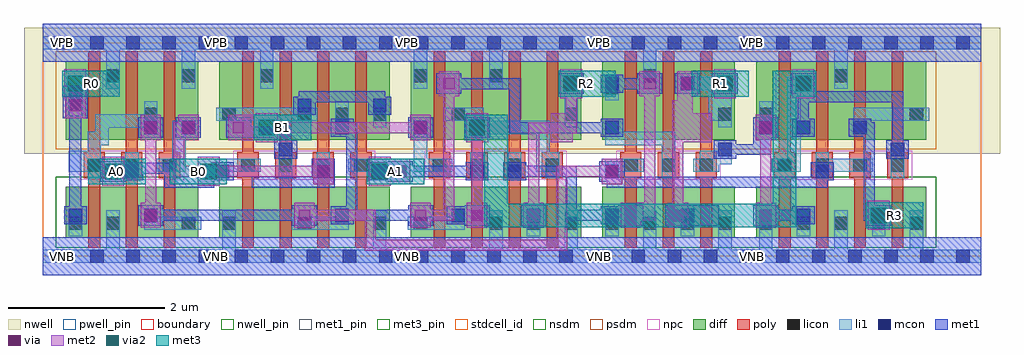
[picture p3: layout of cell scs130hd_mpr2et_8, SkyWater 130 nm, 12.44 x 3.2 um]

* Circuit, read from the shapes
.subckt scs130hd_mpr2et_8 A0 A1 B0 B1 R0 R1 R2 R3 VNB VPB vgnd vpwr
XM1 vgnd n1 R0 VNB sky130_fd_pr__nfet_01v8 w=0.65 l=0.15
XM2 n2 A0 vgnd VNB sky130_fd_pr__nfet_01v8 w=0.65 l=0.15
XM3 n1 B0 n2 VNB sky130_fd_pr__nfet_01v8 w=0.65 l=0.15
XM4 n3 A0 vgnd VNB sky130_fd_pr__nfet_01v8 w=0.65 l=0.15
XM5 n4 B1 n3 VNB sky130_fd_pr__nfet_01v8 w=0.65 l=0.15
XM6 n5 B0 n4 VNB sky130_fd_pr__nfet_01v8 w=0.65 l=0.15
XM7 vgnd A1 n5 VNB sky130_fd_pr__nfet_01v8 w=0.65 l=0.15
XM8 n6 B1 n7 VNB sky130_fd_pr__nfet_01v8 w=0.65 l=0.15
XM9 vgnd A1 n6 VNB sky130_fd_pr__nfet_01v8 w=0.65 l=0.15
XM10 R2 n8 vgnd VNB sky130_fd_pr__nfet_01v8 w=0.65 l=0.15
XM11 vgnd n7 R2 VNB sky130_fd_pr__nfet_01v8 w=0.65 l=0.15
XM12 vgnd n1 n8 VNB sky130_fd_pr__nfet_01v8 w=0.65 l=0.15
XM13 R1 n4 vgnd VNB sky130_fd_pr__nfet_01v8 w=0.65 l=0.15
XM14 vgnd n9 R1 VNB sky130_fd_pr__nfet_01v8 w=0.65 l=0.15
XM15 n9 n7 vgnd VNB sky130_fd_pr__nfet_01v8 w=0.65 l=0.15
XM16 vgnd n1 n9 VNB sky130_fd_pr__nfet_01v8 w=0.65 l=0.15
XM17 R3 n1 vgnd VNB sky130_fd_pr__nfet_01v8 w=0.65 l=0.15
XM18 vgnd n7 R3 VNB sky130_fd_pr__nfet_01v8 w=0.65 l=0.15
XM19 vpwr n1 R0 VPB sky130_fd_pr__pfet_01v8 w=1 l=0.15
XM20 n1 A0 vpwr VPB sky130_fd_pr__pfet_01v8 w=1 l=0.15
XM21 vpwr B0 n1 VPB sky130_fd_pr__pfet_01v8 w=1 l=0.15
XM22 vpwr A0 n10 VPB sky130_fd_pr__pfet_01v8 w=1 l=0.15
XM23 n10 B1 vpwr VPB sky130_fd_pr__pfet_01v8 w=1 l=0.15
XM24 n4 B0 n10 VPB sky130_fd_pr__pfet_01v8 w=1 l=0.15
XM25 n10 A1 n4 VPB sky130_fd_pr__pfet_01v8 w=1 l=0.15
XM26 n7 B1 vpwr VPB sky130_fd_pr__pfet_01v8 w=1 l=0.15
XM27 vpwr A1 n7 VPB sky130_fd_pr__pfet_01v8 w=1 l=0.15
XM28 n11 n8 vpwr VPB sky130_fd_pr__pfet_01v8 w=1 l=0.15
XM29 R2 n7 n11 VPB sky130_fd_pr__pfet_01v8 w=1 l=0.15
XM30 vpwr n1 n8 VPB sky130_fd_pr__pfet_01v8 w=1 l=0.15
XM31 n12 n4 vpwr VPB sky130_fd_pr__pfet_01v8 w=1 l=0.15
XM32 R1 n9 n12 VPB sky130_fd_pr__pfet_01v8 w=1 l=0.15
XM33 n13 n7 n9 VPB sky130_fd_pr__pfet_01v8 w=1 l=0.15
XM34 vpwr n1 n13 VPB sky130_fd_pr__pfet_01v8 w=1 l=0.15
XM35 n14 n1 vpwr VPB sky130_fd_pr__pfet_01v8 w=1 l=0.15
XM36 R3 n7 n14 VPB sky130_fd_pr__pfet_01v8 w=1 l=0.15
.ends

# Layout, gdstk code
import gdstk
lib = gdstk.Library(unit=1e-6, precision=1e-09)
def R(c, l, rs):  # rectangles x0, y0, x1, y1
    for r in rs: c.add(gdstk.rectangle(r[:2], r[2:], *l))
nwell_pin = (64, 16)
nwell = (64, 20)
diff = (65, 20)
poly = (66, 20)
licon = (66, 44)
li1 = (67, 20)
mcon = (67, 44)
met1_pin = (68, 16)
met1 = (68, 20)
via = (68, 44)
met2 = (69, 20)
via2 = (69, 44)
met3_pin = (70, 16)
met3 = (70, 20)
stdcell_id = (81, 4)
nsdm = (93, 44)
psdm = (94, 20)
npc = (95, 20)
pwell_pin = (122, 16)
boundary = (235, 4)

scs130hd_mpr2et_8 = lib.new_cell('scs130hd_mpr2et_8')
R(scs130hd_mpr2et_8, nwell_pin, [(0.165,2.635,0.335,2.805), (0.165,2.635,0.335,2.805), (2.125,2.635,2.295,2.805), (2.125,2.635,2.295,2.805), (4.565,2.635,4.735,2.805), (4.565,2.635,4.735,2.805), (7.005,2.635,7.175,2.805), (7.005,2.635,7.175,2.805), (8.965,2.635,9.135,2.805), (8.965,2.635,9.135,2.805)])
R(scs130hd_mpr2et_8, nwell, [(-0.24,1.305,12.2,2.91), (-0.24,1.305,12.2,2.91)])
R(scs130hd_mpr2et_8, diff, [(0.29,0.235,1.98,0.885), (0.29,0.235,1.98,0.885), (2.25,0.235,4.42,0.885), (2.25,0.235,4.42,0.885), (4.69,0.235,6.86,0.885), (4.69,0.235,6.86,0.885), (7.13,0.235,8.82,0.885), (7.13,0.235,8.82,0.885), (9.09,0.235,11.26,0.885), (9.09,0.235,11.26,0.885), (0.29,1.485,1.98,2.485), (0.29,1.485,1.98,2.485), (2.25,1.485,4.42,2.485), (2.25,1.485,4.42,2.485), (4.69,1.485,6.86,2.485), (4.69,1.485,6.86,2.485), (7.13,1.485,8.82,2.485), (7.13,1.485,8.82,2.485), (9.09,1.485,11.26,2.485), (9.09,1.485,11.26,2.485)])
R(scs130hd_mpr2et_8, poly, [(0.58,0.105,0.73,0.995), (0.58,0.105,0.73,0.995), (1.06,0.105,1.21,0.995), (1.06,0.105,1.21,0.995), (1.54,0.105,1.69,0.995), (1.54,0.105,1.69,0.995), (2.54,0.105,2.69,0.995), (2.54,0.105,2.69,0.995), (3.02,0.105,3.17,0.995), (3.02,0.105,3.17,0.995), (3.5,0.105,3.65,0.995), (3.5,0.105,3.65,0.995), (3.98,0.105,4.13,0.995), (3.98,0.105,4.13,0.995), (4.98,0.105,5.13,0.995), (4.98,0.105,5.13,0.995), (5.46,0.105,5.61,0.995), (5.46,0.105,5.61,0.995), (5.94,0.105,6.09,0.995), (5.94,0.105,6.09,0.995), (6.42,0.105,6.57,0.995), (6.42,0.105,6.57,0.995), (7.42,0.105,7.57,0.995), (7.42,0.105,7.57,0.995), (7.9,0.105,8.05,0.995), (7.9,0.105,8.05,0.995), (8.38,0.105,8.53,0.995), (8.38,0.105,8.53,0.995), (9.38,0.105,9.53,0.995), (9.38,0.105,9.53,0.995), (9.86,0.105,10.01,0.995), (9.86,0.105,10.01,0.995), (10.34,0.105,10.49,0.995), (10.34,0.105,10.49,0.995), (10.82,0.105,10.97,0.995), (10.82,0.105,10.97,0.995), (0.52,0.995,0.79,1.325), (0.52,0.995,0.79,1.325), (1,0.995,1.27,1.325), (1,0.995,1.27,1.325), (1.48,0.995,1.75,1.325), (1.48,0.995,1.75,1.325), (2.48,0.995,2.75,1.325), (2.48,0.995,2.75,1.325), (2.96,0.995,3.23,1.325), (2.96,0.995,3.23,1.325), (3.44,0.995,3.71,1.325), (3.44,0.995,3.71,1.325), (3.92,0.995,4.19,1.325), (3.92,0.995,4.19,1.325), (4.92,0.995,5.19,1.325), (4.92,0.995,5.19,1.325), (5.4,0.995,5.67,1.325), (5.4,0.995,5.67,1.325), (5.88,0.995,6.15,1.325), (5.88,0.995,6.15,1.325), (6.36,0.995,6.63,1.325), (6.36,0.995,6.63,1.325), (7.36,0.995,7.63,1.325), (7.36,0.995,7.63,1.325), (7.84,0.995,8.11,1.325), (7.84,0.995,8.11,1.325), (8.32,0.995,8.59,1.325), (8.32,0.995,8.59,1.325), (9.32,0.995,9.59,1.325), (9.32,0.995,9.59,1.325), (9.8,0.995,10.07,1.325), (9.8,0.995,10.07,1.325), (10.28,0.995,10.55,1.325), (10.28,0.995,10.55,1.325), (10.76,0.995,11.03,1.325), (10.76,0.995,11.03,1.325), (0.58,1.325,0.73,2.615), (0.58,1.325,0.73,2.615), (1.06,1.325,1.21,2.615), (1.06,1.325,1.21,2.615), (1.54,1.325,1.69,2.615), (1.54,1.325,1.69,2.615), (2.54,1.325,2.69,2.615), (2.54,1.325,2.69,2.615), (3.02,1.325,3.17,2.615), (3.02,1.325,3.17,2.615), (3.5,1.325,3.65,2.615), (3.5,1.325,3.65,2.615), (3.98,1.325,4.13,2.615), (3.98,1.325,4.13,2.615), (4.98,1.325,5.13,2.615), (4.98,1.325,5.13,2.615), (5.46,1.325,5.61,2.615), (5.46,1.325,5.61,2.615), (5.94,1.325,6.09,2.615), (5.94,1.325,6.09,2.615), (6.42,1.325,6.57,2.615), (6.42,1.325,6.57,2.615), (7.42,1.325,7.57,2.615), (7.42,1.325,7.57,2.615), (7.9,1.325,8.05,2.615), (7.9,1.325,8.05,2.615), (8.38,1.325,8.53,2.615), (8.38,1.325,8.53,2.615), (9.38,1.325,9.53,2.615), (9.38,1.325,9.53,2.615), (9.86,1.325,10.01,2.615), (9.86,1.325,10.01,2.615), (10.34,1.325,10.49,2.615), (10.34,1.325,10.49,2.615), (10.82,1.325,10.97,2.615), (10.82,1.325,10.97,2.615)])
R(scs130hd_mpr2et_8, licon, [(0.33,0.335,0.5,0.505), (0.33,0.335,0.5,0.505), (0.81,0.335,0.98,0.505), (0.81,0.335,0.98,0.505), (1.77,0.335,1.94,0.505), (1.77,0.335,1.94,0.505), (2.29,0.335,2.46,0.505), (2.29,0.335,2.46,0.505), (3.25,0.335,3.42,0.505), (3.25,0.335,3.42,0.505), (4.21,0.335,4.38,0.505), (4.21,0.335,4.38,0.505), (4.73,0.335,4.9,0.505), (4.73,0.335,4.9,0.505), (5.69,0.335,5.86,0.505), (5.69,0.335,5.86,0.505), (6.17,0.335,6.34,0.505), (6.17,0.335,6.34,0.505), (6.65,0.335,6.82,0.505), (6.65,0.335,6.82,0.505), (7.17,0.335,7.34,0.505), (7.17,0.335,7.34,0.505), (7.65,0.335,7.82,0.505), (7.65,0.335,7.82,0.505), (8.13,0.335,8.3,0.505), (8.13,0.335,8.3,0.505), (8.61,0.335,8.78,0.505), (8.61,0.335,8.78,0.505), (9.13,0.335,9.3,0.505), (9.13,0.335,9.3,0.505), (9.61,0.335,9.78,0.505), (9.61,0.335,9.78,0.505), (10.09,0.335,10.26,0.505), (10.09,0.335,10.26,0.505), (10.57,0.335,10.74,0.505), (10.57,0.335,10.74,0.505), (11.05,0.335,11.22,0.505), (11.05,0.335,11.22,0.505), (0.57,1.075,0.74,1.245), (0.57,1.075,0.74,1.245), (1.05,1.075,1.22,1.245), (1.05,1.075,1.22,1.245), (1.53,1.075,1.7,1.245), (1.53,1.075,1.7,1.245), (2.53,1.075,2.7,1.245), (2.53,1.075,2.7,1.245), (3.01,1.075,3.18,1.245), (3.01,1.075,3.18,1.245), (3.49,1.075,3.66,1.245), (3.49,1.075,3.66,1.245), (3.97,1.075,4.14,1.245), (3.97,1.075,4.14,1.245), (4.97,1.075,5.14,1.245), (4.97,1.075,5.14,1.245), (5.45,1.075,5.62,1.245), (5.45,1.075,5.62,1.245), (5.93,1.075,6.1,1.245), (5.93,1.075,6.1,1.245), (6.41,1.075,6.58,1.245), (6.41,1.075,6.58,1.245), (7.41,1.075,7.58,1.245), (7.41,1.075,7.58,1.245), (7.89,1.075,8.06,1.245), (7.89,1.075,8.06,1.245), (8.37,1.075,8.54,1.245), (8.37,1.075,8.54,1.245), (9.37,1.075,9.54,1.245), (9.37,1.075,9.54,1.245), (9.85,1.075,10.02,1.245), (9.85,1.075,10.02,1.245), (10.33,1.075,10.5,1.245), (10.33,1.075,10.5,1.245), (10.81,1.075,10.98,1.245), (10.81,1.075,10.98,1.245), (1.29,1.725,1.46,1.895), (1.29,1.725,1.46,1.895), (2.29,1.725,2.46,1.895), (2.29,1.725,2.46,1.895), (3.25,1.725,3.42,1.895), (3.25,1.725,3.42,1.895), (3.73,1.725,3.9,1.895), (3.73,1.725,3.9,1.895), (4.21,1.725,4.38,1.895), (4.21,1.725,4.38,1.895), (5.21,1.725,5.38,1.895), (5.21,1.725,5.38,1.895), (6.65,1.725,6.82,1.895), (6.65,1.725,6.82,1.895), (8.61,1.725,8.78,1.895), (8.61,1.725,8.78,1.895), (9.13,1.725,9.3,1.895), (9.13,1.725,9.3,1.895), (11.05,1.725,11.22,1.895), (11.05,1.725,11.22,1.895), (0.33,1.865,0.5,2.035), (0.33,1.865,0.5,2.035), (7.17,2.065,7.34,2.235), (7.17,2.065,7.34,2.235), (0.81,2.215,0.98,2.385), (0.81,2.215,0.98,2.385), (1.77,2.215,1.94,2.385), (1.77,2.215,1.94,2.385), (2.77,2.215,2.94,2.385), (2.77,2.215,2.94,2.385), (4.73,2.215,4.9,2.385), (4.73,2.215,4.9,2.385), (5.69,2.215,5.86,2.385), (5.69,2.215,5.86,2.385), (7.65,2.215,7.82,2.385), (7.65,2.215,7.82,2.385), (10.09,2.215,10.26,2.385), (10.09,2.215,10.26,2.385)])
R(scs130hd_mpr2et_8, li1, [(0,-0.085,11.96,0.085), (0,-0.085,11.96,0.085), (0.81,0.085,0.98,0.585), (0.81,0.085,0.98,0.585), (2.29,0.085,2.46,0.585), (2.29,0.085,2.46,0.585), (4.21,0.085,4.38,0.585), (4.21,0.085,4.38,0.585), (5.69,0.085,5.86,0.585), (5.69,0.085,5.86,0.585), (6.65,0.085,6.82,0.585), (6.65,0.085,6.82,0.585), (7.65,0.085,7.82,0.585), (7.65,0.085,7.82,0.585), (8.61,0.085,8.78,0.585), (8.61,0.085,8.78,0.585), (9.13,0.085,9.3,0.585), (9.13,0.085,9.3,0.585), (10.09,0.085,10.26,0.585), (10.09,0.085,10.26,0.585), (11.05,0.085,11.22,0.585), (11.05,0.085,11.22,0.585), (0.33,0.255,0.5,0.605), (0.33,0.255,0.5,0.605), (6.17,0.255,6.34,0.605), (6.17,0.255,6.34,0.605), (7.17,0.255,7.34,0.605), (7.17,0.255,7.34,0.605), (8.13,0.255,8.3,0.605), (8.13,0.255,8.3,0.605), (9.61,0.255,9.78,0.605), (9.61,0.255,9.78,0.605), (10.57,0.255,10.74,0.605), (10.57,0.255,10.74,0.605), (1.29,0.335,2.02,0.505), (1.29,0.335,2.02,0.505), (3.17,0.335,3.9,0.505), (3.17,0.335,3.9,0.505), (4.65,0.335,5.38,0.505), (4.65,0.335,5.38,0.505), (1.29,0.505,1.46,0.605), (1.29,0.505,1.46,0.605), (3.73,0.505,3.9,0.605), (3.73,0.505,3.9,0.605), (5.21,0.505,5.38,0.605), (5.21,0.505,5.38,0.605), (0.57,0.995,0.74,1.075), (0.57,0.995,0.74,1.075), (1.05,0.995,1.22,1.325), (1.05,0.995,1.22,1.325), (2.205,0.995,2.375,1.075), (2.205,0.995,2.375,1.075), (3.01,0.995,3.18,1.445), (3.01,0.995,3.18,1.445), (3.49,0.995,3.66,1.325), (3.49,0.995,3.66,1.325), (4.21,0.995,4.38,1.075), (4.21,0.995,4.38,1.075), (5.45,0.995,5.62,1.325), (5.45,0.995,5.62,1.325), (5.93,0.995,6.1,1.325), (5.93,0.995,6.1,1.325), (6.41,0.995,6.58,1.075), (6.41,0.995,6.58,1.075), (7.17,0.995,7.34,1.075), (7.17,0.995,7.34,1.075), (7.89,0.995,8.06,1.415), (7.89,0.995,8.06,1.415), (9.85,0.995,10.02,1.075), (9.85,0.995,10.02,1.075), (10.81,0.995,10.98,1.445), (10.81,0.995,10.98,1.445), (0.33,1.075,0.74,1.345), (0.33,1.075,0.74,1.345), (1.45,1.075,1.82,1.245), (1.45,1.075,1.82,1.245), (2.205,1.075,2.78,1.245), (2.205,1.075,2.78,1.245), (3.89,1.075,4.38,1.245), (3.89,1.075,4.38,1.245), (4.73,1.075,5.22,1.245), (4.73,1.075,5.22,1.245), (6.29,1.075,6.58,1.325), (6.29,1.075,6.58,1.325), (7.17,1.075,7.66,1.245), (7.17,1.075,7.66,1.245), (8.29,1.075,8.62,1.175), (8.29,1.075,8.62,1.175), (9.29,1.075,9.66,1.245), (9.29,1.075,9.66,1.245), (9.85,1.075,10.58,1.245), (9.85,1.075,10.58,1.245), (8.29,1.175,8.78,1.245), (8.29,1.175,8.78,1.245), (1.65,1.245,1.82,1.555), (1.65,1.245,1.82,1.555), (4.73,1.245,4.9,1.725), (4.73,1.245,4.9,1.725), (8.37,1.245,8.78,1.345), (8.37,1.245,8.78,1.345), (9.49,1.245,9.66,1.555), (9.49,1.245,9.66,1.555), (9.85,1.245,10.02,1.325), (9.85,1.245,10.02,1.325), (6.29,1.325,6.46,1.555), (6.29,1.325,6.46,1.555), (0.57,1.345,0.74,1.415), (0.57,1.345,0.74,1.415), (8.61,1.345,8.78,1.445), (8.61,1.345,8.78,1.445), (0.57,1.415,0.84,1.585), (0.57,1.415,0.84,1.585), (7.17,1.415,8.06,1.585), (7.17,1.415,8.06,1.585), (1.29,1.555,1.46,1.64), (1.29,1.555,1.46,1.64), (1.65,1.555,1.94,1.725), (1.65,1.555,1.94,1.725), (3.73,1.555,3.9,1.975), (3.73,1.555,3.9,1.975), (5.45,1.555,6.46,1.725), (5.45,1.555,6.46,1.725), (9.13,1.555,9.3,1.975), (9.13,1.555,9.3,1.975), (9.49,1.555,9.78,1.725), (9.49,1.555,9.78,1.725), (10.33,1.555,10.5,1.725), (10.33,1.555,10.5,1.725), (0.67,1.585,0.84,1.64), (0.67,1.585,0.84,1.64), (7.17,1.585,7.34,1.725), (7.17,1.585,7.34,1.725), (0.67,1.64,1.46,1.81), (0.67,1.64,1.46,1.81), (4.21,1.645,4.38,2.005), (4.21,1.645,4.38,2.005), (6.65,1.645,6.82,2.285), (6.65,1.645,6.82,2.285), (8.61,1.645,8.78,1.725), (8.61,1.645,8.78,1.725), (2.21,1.725,3.5,1.895), (2.21,1.725,3.5,1.895), (5.13,1.725,5.62,1.895), (5.13,1.725,5.62,1.895), (8.49,1.725,8.78,2.115), (8.49,1.725,8.78,2.115), (9.49,1.725,9.66,2.115), (9.49,1.725,9.66,2.115), (10.33,1.725,11.3,1.895), (10.33,1.725,11.3,1.895), (0.33,1.785,0.5,2.145), (0.33,1.785,0.5,2.145), (1.29,1.81,1.46,1.975), (1.29,1.81,1.46,1.975), (3.25,1.895,3.42,2.005), (3.25,1.895,3.42,2.005), (7.17,1.985,7.34,2.315), (7.17,1.985,7.34,2.315), (8.13,2.115,8.78,2.285), (8.13,2.115,8.78,2.285), (9.49,2.115,9.78,2.285), (9.49,2.115,9.78,2.285), (0.81,2.135,0.98,2.635), (0.81,2.135,0.98,2.635), (1.77,2.135,1.94,2.635), (1.77,2.135,1.94,2.635), (2.77,2.135,2.94,2.635), (2.77,2.135,2.94,2.635), (4.73,2.135,4.9,2.635), (4.73,2.135,4.9,2.635), (5.69,2.135,5.86,2.635), (5.69,2.135,5.86,2.635), (7.65,2.135,7.82,2.635), (7.65,2.135,7.82,2.635), (10.09,2.135,10.26,2.635), (10.09,2.135,10.26,2.635), (0,2.635,11.96,2.805), (0,2.635,11.96,2.805)])
R(scs130hd_mpr2et_8, mcon, [(0.145,-0.085,0.315,0.085), (0.145,-0.085,0.315,0.085), (0.605,-0.085,0.775,0.085), (0.605,-0.085,0.775,0.085), (1.065,-0.085,1.235,0.085), (1.065,-0.085,1.235,0.085), (1.525,-0.085,1.695,0.085), (1.525,-0.085,1.695,0.085), (1.985,-0.085,2.155,0.085), (1.985,-0.085,2.155,0.085), (2.445,-0.085,2.615,0.085), (2.445,-0.085,2.615,0.085), (2.905,-0.085,3.075,0.085), (2.905,-0.085,3.075,0.085), (3.365,-0.085,3.535,0.085), (3.365,-0.085,3.535,0.085), (3.825,-0.085,3.995,0.085), (3.825,-0.085,3.995,0.085), (4.285,-0.085,4.455,0.085), (4.285,-0.085,4.455,0.085), (4.745,-0.085,4.915,0.085), (4.745,-0.085,4.915,0.085), (5.205,-0.085,5.375,0.085), (5.205,-0.085,5.375,0.085), (5.665,-0.085,5.835,0.085), (5.665,-0.085,5.835,0.085), (6.125,-0.085,6.295,0.085), (6.125,-0.085,6.295,0.085), (6.585,-0.085,6.755,0.085), (6.585,-0.085,6.755,0.085), (7.045,-0.085,7.215,0.085), (7.045,-0.085,7.215,0.085), (7.505,-0.085,7.675,0.085), (7.505,-0.085,7.675,0.085), (7.965,-0.085,8.135,0.085), (7.965,-0.085,8.135,0.085), (8.425,-0.085,8.595,0.085), (8.425,-0.085,8.595,0.085), (8.885,-0.085,9.055,0.085), (8.885,-0.085,9.055,0.085), (9.345,-0.085,9.515,0.085), (9.345,-0.085,9.515,0.085), (9.805,-0.085,9.975,0.085), (9.805,-0.085,9.975,0.085), (10.265,-0.085,10.435,0.085), (10.265,-0.085,10.435,0.085), (10.725,-0.085,10.895,0.085), (10.725,-0.085,10.895,0.085), (11.185,-0.085,11.355,0.085), (11.185,-0.085,11.355,0.085), (11.645,-0.085,11.815,0.085), (11.645,-0.085,11.815,0.085), (0.33,0.435,0.5,0.605), (0.33,0.435,0.5,0.605), (1.29,0.435,1.46,0.605), (1.29,0.435,1.46,0.605), (3.73,0.435,3.9,0.605), (3.73,0.435,3.9,0.605), (5.21,0.435,5.38,0.605), (5.21,0.435,5.38,0.605), (6.17,0.435,6.34,0.605), (6.17,0.435,6.34,0.605), (7.17,0.435,7.34,0.605), (7.17,0.435,7.34,0.605), (8.13,0.435,8.3,0.605), (8.13,0.435,8.3,0.605), (9.61,0.435,9.78,0.605), (9.61,0.435,9.78,0.605), (10.57,0.435,10.74,0.605), (10.57,0.435,10.74,0.605), (1.05,0.995,1.22,1.165), (1.05,0.995,1.22,1.165), (2.205,0.995,2.375,1.165), (2.205,0.995,2.375,1.165), (3.49,0.995,3.66,1.165), (3.49,0.995,3.66,1.165), (4.21,0.995,4.38,1.165), (4.21,0.995,4.38,1.165), (5.45,0.995,5.62,1.165), (5.45,0.995,5.62,1.165), (5.93,0.995,6.1,1.165), (5.93,0.995,6.1,1.165), (7.17,0.995,7.34,1.165), (7.17,0.995,7.34,1.165), (9.85,0.995,10.02,1.165), (9.85,0.995,10.02,1.165), (3.01,1.275,3.18,1.445), (3.01,1.275,3.18,1.445), (8.61,1.275,8.78,1.445), (8.61,1.275,8.78,1.445), (10.81,1.275,10.98,1.445), (10.81,1.275,10.98,1.445), (1.29,1.555,1.46,1.725), (1.29,1.555,1.46,1.725), (1.77,1.555,1.94,1.725), (1.77,1.555,1.94,1.725), (3.73,1.555,3.9,1.725), (3.73,1.555,3.9,1.725), (4.73,1.555,4.9,1.725), (4.73,1.555,4.9,1.725), (5.45,1.555,5.62,1.725), (5.45,1.555,5.62,1.725), (7.17,1.555,7.34,1.725), (7.17,1.555,7.34,1.725), (9.13,1.555,9.3,1.725), (9.13,1.555,9.3,1.725), (9.61,1.555,9.78,1.725), (9.61,1.555,9.78,1.725), (10.33,1.555,10.5,1.725), (10.33,1.555,10.5,1.725), (3.25,1.835,3.42,2.005), (3.25,1.835,3.42,2.005), (4.21,1.835,4.38,2.005), (4.21,1.835,4.38,2.005), (0.33,1.975,0.5,2.145), (0.33,1.975,0.5,2.145), (6.65,2.115,6.82,2.285), (6.65,2.115,6.82,2.285), (7.17,2.115,7.34,2.285), (7.17,2.115,7.34,2.285), (8.13,2.115,8.3,2.285), (8.13,2.115,8.3,2.285), (8.61,2.115,8.78,2.285), (8.61,2.115,8.78,2.285), (9.61,2.115,9.78,2.285), (9.61,2.115,9.78,2.285), (0.145,2.635,0.315,2.805), (0.145,2.635,0.315,2.805), (0.605,2.635,0.775,2.805), (0.605,2.635,0.775,2.805), (1.065,2.635,1.235,2.805), (1.065,2.635,1.235,2.805), (1.525,2.635,1.695,2.805), (1.525,2.635,1.695,2.805), (1.985,2.635,2.155,2.805), (1.985,2.635,2.155,2.805), (2.445,2.635,2.615,2.805), (2.445,2.635,2.615,2.805), (2.905,2.635,3.075,2.805), (2.905,2.635,3.075,2.805), (3.365,2.635,3.535,2.805), (3.365,2.635,3.535,2.805), (3.825,2.635,3.995,2.805), (3.825,2.635,3.995,2.805), (4.285,2.635,4.455,2.805), (4.285,2.635,4.455,2.805), (4.745,2.635,4.915,2.805), (4.745,2.635,4.915,2.805), (5.205,2.635,5.375,2.805), (5.205,2.635,5.375,2.805), (5.665,2.635,5.835,2.805), (5.665,2.635,5.835,2.805), (6.125,2.635,6.295,2.805), (6.125,2.635,6.295,2.805), (6.585,2.635,6.755,2.805), (6.585,2.635,6.755,2.805), (7.045,2.635,7.215,2.805), (7.045,2.635,7.215,2.805), (7.505,2.635,7.675,2.805), (7.505,2.635,7.675,2.805), (7.965,2.635,8.135,2.805), (7.965,2.635,8.135,2.805), (8.425,2.635,8.595,2.805), (8.425,2.635,8.595,2.805), (8.885,2.635,9.055,2.805), (8.885,2.635,9.055,2.805), (9.345,2.635,9.515,2.805), (9.345,2.635,9.515,2.805), (9.805,2.635,9.975,2.805), (9.805,2.635,9.975,2.805), (10.265,2.635,10.435,2.805), (10.265,2.635,10.435,2.805), (10.725,2.635,10.895,2.805), (10.725,2.635,10.895,2.805), (11.185,2.635,11.355,2.805), (11.185,2.635,11.355,2.805), (11.645,2.635,11.815,2.805), (11.645,2.635,11.815,2.805)])
R(scs130hd_mpr2et_8, met1_pin, [(0.155,-0.085,0.325,0.085), (0.155,-0.085,0.325,0.085), (0.155,2.635,0.325,2.805), (0.155,2.635,0.325,2.805)])
R(scs130hd_mpr2et_8, met1, [(0,-0.24,11.96,0.24), (0,-0.24,11.96,0.24), (1.215,0.39,1.535,0.45), (1.215,0.39,1.535,0.45), (3.175,0.39,3.495,0.45), (3.175,0.39,3.495,0.45), (4.655,0.39,4.975,0.45), (4.655,0.39,4.975,0.45), (5.375,0.39,5.695,0.405), (5.375,0.39,5.695,0.405), (6.095,0.39,6.415,0.65), (6.095,0.39,6.415,0.65), (7.335,0.39,7.655,0.405), (7.335,0.39,7.655,0.405), (7.935,0.39,8.615,0.65), (7.935,0.39,8.615,0.65), (9.055,0.39,9.375,0.45), (9.055,0.39,9.375,0.45), (10.495,0.39,10.815,0.45), (10.495,0.39,10.815,0.45), (0.27,0.405,0.56,0.635), (0.27,0.405,0.56,0.635), (3.67,0.405,3.96,0.45), (3.67,0.405,3.96,0.45), (5.15,0.405,5.695,0.635), (5.15,0.405,5.695,0.635), (7.11,0.405,7.655,0.45), (7.11,0.405,7.655,0.45), (9.55,0.405,9.84,0.45), (9.55,0.405,9.84,0.45), (1.215,0.45,3.495,0.59), (1.215,0.45,3.495,0.59), (3.67,0.45,4.975,0.59), (3.67,0.45,4.975,0.59), (6.665,0.45,7.655,0.59), (6.665,0.45,7.655,0.59), (9.055,0.45,9.84,0.59), (9.055,0.45,9.84,0.59), (10.465,0.45,10.815,0.65), (10.465,0.45,10.815,0.65), (1.215,0.59,1.535,0.65), (1.215,0.59,1.535,0.65), (3.175,0.59,3.495,0.65), (3.175,0.59,3.495,0.65), (3.67,0.59,4.005,0.635), (3.67,0.59,4.005,0.635), (4.655,0.59,4.975,0.65), (4.655,0.59,4.975,0.65), (6.665,0.59,6.805,1.01), (6.665,0.59,6.805,1.01), (7.11,0.59,7.655,0.635), (7.11,0.59,7.655,0.635), (9.055,0.59,9.375,0.65), (9.055,0.59,9.375,0.65), (9.55,0.59,9.84,0.635), (9.55,0.59,9.84,0.635), (0.335,0.635,0.49,1.76), (0.335,0.635,0.49,1.76), (3.865,0.635,4.005,1.525), (3.865,0.635,4.005,1.525), (5.375,0.635,5.695,0.65), (5.375,0.635,5.695,0.65), (7.335,0.635,7.655,0.65), (7.335,0.635,7.655,0.65), (10.465,0.65,10.605,1.525), (10.465,0.65,10.605,1.525), (1.545,0.87,2.185,0.965), (1.545,0.87,2.185,0.965), (2.665,0.87,3.72,1.01), (2.665,0.87,3.72,1.01), (7.185,0.87,10.005,0.95), (7.185,0.87,10.005,0.95), (0.735,0.95,1.055,0.965), (0.735,0.95,1.055,0.965), (4.395,0.95,4.715,0.965), (4.395,0.95,4.715,0.965), (7.095,0.95,10.005,0.965), (7.095,0.95,10.005,0.965), (0.735,0.965,1.28,1.05), (0.735,0.965,1.28,1.05), (1.545,0.965,2.435,1.01), (1.545,0.965,2.435,1.01), (4.15,0.965,4.715,1.01), (4.15,0.965,4.715,1.01), (5.39,0.965,5.68,1.01), (5.39,0.965,5.68,1.01), (5.87,0.965,6.16,1.01), (5.87,0.965,6.16,1.01), (7.095,0.965,10.08,1.01), (7.095,0.965,10.08,1.01), (1.545,1.01,1.685,1.05), (1.545,1.01,1.685,1.05), (2.045,1.01,2.435,1.15), (2.045,1.01,2.435,1.15), (3.43,1.01,3.72,1.24), (3.43,1.01,3.72,1.24), (4.15,1.01,5.68,1.15), (4.15,1.01,5.68,1.15), (5.87,1.01,6.805,1.15), (5.87,1.01,6.805,1.15), (7.095,1.01,7.415,1.21), (7.095,1.01,7.415,1.21), (9.79,1.01,10.08,1.195), (9.79,1.01,10.08,1.195), (0.735,1.05,1.685,1.19), (0.735,1.05,1.685,1.19), (2.145,1.15,2.435,1.195), (2.145,1.15,2.435,1.195), (4.15,1.15,4.715,1.195), (4.15,1.15,4.715,1.195), (5.39,1.15,5.68,1.195), (5.39,1.15,5.68,1.195), (5.87,1.15,6.16,1.195), (5.87,1.15,6.16,1.195), (0.735,1.19,1.28,1.195), (0.735,1.19,1.28,1.195), (0.735,1.195,1.055,1.21), (0.735,1.195,1.055,1.21), (4.395,1.195,4.715,1.21), (4.395,1.195,4.715,1.21), (2.95,1.245,3.24,1.475), (2.95,1.245,3.24,1.475), (8.55,1.245,8.84,1.29), (8.55,1.245,8.84,1.29), (10.75,1.245,11.04,1.475), (10.75,1.245,11.04,1.475), (8.55,1.29,9.285,1.43), (8.55,1.29,9.285,1.43), (8.55,1.43,8.84,1.475), (8.55,1.43,8.84,1.475), (9.055,1.43,9.285,1.51), (9.055,1.43,9.285,1.51), (2.95,1.475,3.165,1.51), (2.95,1.475,3.165,1.51), (10.825,1.475,10.965,1.965), (10.825,1.475,10.965,1.965), (1.215,1.51,1.535,1.77), (1.215,1.51,1.535,1.77), (1.695,1.51,2.015,1.77), (1.695,1.51,2.015,1.77), (2.335,1.51,3.165,1.65), (2.335,1.51,3.165,1.65), (4.655,1.51,4.975,1.77), (4.655,1.51,4.975,1.77), (5.375,1.51,5.695,1.77), (5.375,1.51,5.695,1.77), (9.055,1.51,9.375,1.77), (9.055,1.51,9.375,1.77), (3.67,1.525,4.005,1.71), (3.67,1.525,4.005,1.71), (7.11,1.525,7.4,1.57), (7.11,1.525,7.4,1.57), (9.55,1.525,9.84,1.755), (9.55,1.525,9.84,1.755), (10.27,1.525,10.605,1.71), (10.27,1.525,10.605,1.71), (5.945,1.57,7.4,1.71), (5.945,1.57,7.4,1.71), (2.335,1.65,2.655,1.77), (2.335,1.65,2.655,1.77), (3.67,1.71,3.96,1.755), (3.67,1.71,3.96,1.755), (5.945,1.71,6.085,2.13), (5.945,1.71,6.085,2.13), (7.11,1.71,7.4,1.755), (7.11,1.71,7.4,1.755), (10.27,1.71,10.56,1.755), (10.27,1.71,10.56,1.755), (9.625,1.755,9.765,1.965), (9.625,1.755,9.765,1.965), (0.255,1.76,0.575,2.175), (0.255,1.76,0.575,2.175), (3.19,1.805,3.48,1.965), (3.19,1.805,3.48,1.965), (4.15,1.805,4.44,1.965), (4.15,1.805,4.44,1.965), (3.19,1.965,4.44,2.035), (3.19,1.965,4.44,2.035), (9.625,1.965,10.965,2.07), (9.625,1.965,10.965,2.07), (3.265,2.035,4.365,2.105), (3.265,2.035,4.365,2.105), (5.015,2.07,5.335,2.13), (5.015,2.07,5.335,2.13), (6.575,2.07,6.895,2.33), (6.575,2.07,6.895,2.33), (7.575,2.07,7.895,2.13), (7.575,2.07,7.895,2.13), (8.055,2.07,8.375,2.33), (8.055,2.07,8.375,2.33), (8.535,2.07,8.855,2.33), (8.535,2.07,8.855,2.33), (9.535,2.07,10.965,2.105), (9.535,2.07,10.965,2.105), (7.11,2.085,7.4,2.13), (7.11,2.085,7.4,2.13), (9.535,2.105,9.855,2.33), (9.535,2.105,9.855,2.33), (5.015,2.13,6.085,2.27), (5.015,2.13,6.085,2.27), (7.11,2.13,7.895,2.27), (7.11,2.13,7.895,2.27), (5.015,2.27,5.335,2.33), (5.015,2.27,5.335,2.33), (7.11,2.27,7.4,2.315), (7.11,2.27,7.4,2.315), (7.575,2.27,7.895,2.33), (7.575,2.27,7.895,2.33), (0,2.48,11.96,2.96), (0,2.48,11.96,2.96)])
R(scs130hd_mpr2et_8, via, [(1.3,0.445,1.45,0.595), (1.3,0.445,1.45,0.595), (3.26,0.445,3.41,0.595), (3.26,0.445,3.41,0.595), (4.74,0.445,4.89,0.595), (4.74,0.445,4.89,0.595), (5.46,0.445,5.61,0.595), (5.46,0.445,5.61,0.595), (6.18,0.445,6.33,0.595), (6.18,0.445,6.33,0.595), (7.42,0.445,7.57,0.595), (7.42,0.445,7.57,0.595), (8.02,0.445,8.17,0.595), (8.02,0.445,8.17,0.595), (9.14,0.445,9.29,0.595), (9.14,0.445,9.29,0.595), (10.58,0.445,10.73,0.595), (10.58,0.445,10.73,0.595), (0.82,1.005,0.97,1.155), (0.82,1.005,0.97,1.155), (3.5,1.005,3.65,1.155), (3.5,1.005,3.65,1.155), (4.48,1.005,4.63,1.155), (4.48,1.005,4.63,1.155), (7.18,1.005,7.33,1.155), (7.18,1.005,7.33,1.155), (1.3,1.565,1.45,1.715), (1.3,1.565,1.45,1.715), (1.78,1.565,1.93,1.715), (1.78,1.565,1.93,1.715), (2.42,1.565,2.57,1.715), (2.42,1.565,2.57,1.715), (4.74,1.565,4.89,1.715), (4.74,1.565,4.89,1.715), (5.46,1.565,5.61,1.715), (5.46,1.565,5.61,1.715), (9.14,1.565,9.29,1.715), (9.14,1.565,9.29,1.715), (0.34,1.845,0.49,1.995), (0.34,1.845,0.49,1.995), (5.1,2.125,5.25,2.275), (5.1,2.125,5.25,2.275), (6.66,2.125,6.81,2.275), (6.66,2.125,6.81,2.275), (7.66,2.125,7.81,2.275), (7.66,2.125,7.81,2.275), (8.14,2.125,8.29,2.275), (8.14,2.125,8.29,2.275), (8.62,2.125,8.77,2.275), (8.62,2.125,8.77,2.275), (9.62,2.125,9.77,2.275), (9.62,2.125,9.77,2.275)])
R(scs130hd_mpr2et_8, met2, [(4.105,0.07,6.685,0.21), (4.105,0.07,6.685,0.21), (4.105,0.21,4.245,0.45), (4.105,0.21,4.245,0.45), (6.545,0.21,6.685,1.01), (6.545,0.21,6.685,1.01), (10.515,0.335,10.795,0.705), (10.515,0.335,10.795,0.705), (1.245,0.36,1.505,0.68), (1.245,0.36,1.505,0.68), (3.205,0.36,3.465,0.45), (3.205,0.36,3.465,0.45), (4.685,0.36,4.945,0.45), (4.685,0.36,4.945,0.45), (5.405,0.36,5.665,0.68), (5.405,0.36,5.665,0.68), (6.125,0.36,6.385,0.68), (6.125,0.36,6.385,0.68), (7.365,0.36,7.625,0.45), (7.365,0.36,7.625,0.45), (7.965,0.36,8.225,0.68), (7.965,0.36,8.225,0.68), (9.085,0.36,9.345,0.68), (9.085,0.36,9.345,0.68), (3.205,0.45,4.245,0.59), (3.205,0.45,4.245,0.59), (4.685,0.45,5.245,0.59), (4.685,0.45,5.245,0.59), (7.365,0.45,7.805,0.68), (7.365,0.45,7.805,0.68), (3.205,0.59,3.465,0.68), (3.205,0.59,3.465,0.68), (4.685,0.59,4.945,0.68), (4.685,0.59,4.945,0.68), (5.105,0.59,5.245,2.04), (5.105,0.59,5.245,2.04), (1.305,0.68,1.445,1.48), (1.305,0.68,1.445,1.48), (5.465,0.68,5.605,1.455), (5.465,0.68,5.605,1.455), (6.185,0.68,6.325,1.57), (6.185,0.68,6.325,1.57), (7.665,0.68,7.805,2.04), (7.665,0.68,7.805,2.04), (8.025,0.68,8.165,1.455), (8.025,0.68,8.165,1.455), (9.145,0.68,9.285,1.48), (9.145,0.68,9.285,1.48), (0.755,0.895,1.035,1.265), (0.755,0.895,1.035,1.265), (1.975,0.895,2.255,1.01), (1.975,0.895,2.255,1.01), (4.155,0.895,4.435,0.92), (4.155,0.895,4.435,0.92), (3.445,0.92,3.705,1.01), (3.445,0.92,3.705,1.01), (4.155,0.92,4.685,1.24), (4.155,0.92,4.685,1.24), (7.125,0.92,7.385,1.01), (7.125,0.92,7.385,1.01), (1.665,1.01,3.705,1.15), (1.665,1.01,3.705,1.15), (6.545,1.01,7.385,1.15), (6.545,1.01,7.385,1.15), (1.665,1.15,1.805,1.48), (1.665,1.15,1.805,1.48), (1.975,1.15,2.255,1.265), (1.975,1.15,2.255,1.265), (3.445,1.15,3.705,1.24), (3.445,1.15,3.705,1.24), (7.125,1.15,7.385,1.24), (7.125,1.15,7.385,1.24), (4.155,1.24,4.435,1.265), (4.155,1.24,4.435,1.265), (2.715,1.455,2.995,1.48), (2.715,1.455,2.995,1.48), (5.395,1.455,5.675,1.825), (5.395,1.455,5.675,1.825), (6.475,1.455,6.755,1.57), (6.475,1.455,6.755,1.57), (8.025,1.455,8.525,1.825), (8.025,1.455,8.525,1.825), (1.245,1.48,1.505,1.8), (1.245,1.48,1.505,1.8), (1.665,1.48,1.985,1.71), (1.665,1.48,1.985,1.71), (2.365,1.48,2.995,1.57), (2.365,1.48,2.995,1.57), (4.685,1.48,4.945,1.57), (4.685,1.48,4.945,1.57), (9.085,1.48,9.345,1.8), (9.085,1.48,9.345,1.8), (2.365,1.57,4.945,1.71), (2.365,1.57,4.945,1.71), (6.185,1.57,6.805,1.71), (6.185,1.57,6.805,1.71), (1.725,1.71,1.985,1.8), (1.725,1.71,1.985,1.8), (2.365,1.71,2.995,1.8), (2.365,1.71,2.995,1.8), (4.685,1.71,4.945,1.8), (4.685,1.71,4.945,1.8), (6.475,1.71,6.805,1.825), (6.475,1.71,6.805,1.825), (0.285,1.76,0.545,2.015), (0.285,1.76,0.545,2.015), (2.715,1.8,2.995,1.825), (2.715,1.8,2.995,1.825), (6.665,1.825,6.805,2.015), (6.665,1.825,6.805,2.015), (8.025,1.825,8.285,1.99), (8.025,1.825,8.285,1.99), (8.085,1.99,8.285,2.04), (8.085,1.99,8.285,2.04), (0.275,2.015,0.555,2.385), (0.275,2.015,0.555,2.385), (6.595,2.015,6.875,2.385), (6.595,2.015,6.875,2.385), (8.555,2.015,8.835,2.385), (8.555,2.015,8.835,2.385), (9.555,2.015,9.835,2.385), (9.555,2.015,9.835,2.385), (5.045,2.04,5.305,2.36), (5.045,2.04,5.305,2.36), (7.605,2.04,7.865,2.36), (7.605,2.04,7.865,2.36), (8.085,2.04,8.345,2.36), (8.085,2.04,8.345,2.36)])
R(scs130hd_mpr2et_8, via2, [(10.555,0.42,10.755,0.62), (10.555,0.42,10.755,0.62), (0.795,0.98,0.995,1.18), (0.795,0.98,0.995,1.18), (2.015,0.98,2.215,1.18), (2.015,0.98,2.215,1.18), (4.195,0.98,4.395,1.18), (4.195,0.98,4.395,1.18), (2.755,1.54,2.955,1.74), (2.755,1.54,2.955,1.74), (5.435,1.54,5.635,1.74), (5.435,1.54,5.635,1.74), (0.315,2.1,0.515,2.3), (0.315,2.1,0.515,2.3), (6.635,2.1,6.835,2.3), (6.635,2.1,6.835,2.3), (8.595,2.1,8.795,2.3), (8.595,2.1,8.795,2.3), (9.595,2.1,9.795,2.3), (9.595,2.1,9.795,2.3)])
R(scs130hd_mpr2et_8, met3_pin, [(10.49,0.355,11.22,0.685), (10.49,0.355,11.22,0.685), (0.58,0.915,1.31,1.245), (0.58,0.915,1.31,1.245), (1.615,0.915,2.345,1.245), (1.615,0.915,2.345,1.245), (4.13,0.915,4.86,1.245), (4.13,0.915,4.86,1.245), (2.69,1.475,3.42,1.805), (2.69,1.475,3.42,1.805), (0.25,2.035,0.98,2.365), (0.25,2.035,0.98,2.365), (6.57,2.035,7.3,2.365), (6.57,2.035,7.3,2.365), (8.27,2.035,9,2.365), (8.27,2.035,9,2.365)])
R(scs130hd_mpr2et_8, met3, [(10.49,0.355,11.22,0.685), (10.49,0.355,11.22,0.685), (5.625,0.37,9.605,0.67), (5.625,0.37,9.605,0.67), (5.625,0.67,5.925,1.475), (5.625,0.67,5.925,1.475), (9.305,0.67,9.605,2.035), (9.305,0.67,9.605,2.035), (0.58,0.915,1.31,1.245), (0.58,0.915,1.31,1.245), (1.615,0.915,2.345,1.245), (1.615,0.915,2.345,1.245), (4.13,0.915,4.86,1.245), (4.13,0.915,4.86,1.245), (2.69,1.475,3.42,1.805), (2.69,1.475,3.42,1.805), (5.37,1.475,5.925,1.805), (5.37,1.475,5.925,1.805), (0.25,2.035,0.98,2.365), (0.25,2.035,0.98,2.365), (6.57,2.035,7.3,2.365), (6.57,2.035,7.3,2.365), (8.27,2.035,9,2.365), (8.27,2.035,9,2.365), (9.305,2.035,9.86,2.365), (9.305,2.035,9.86,2.365)])
R(scs130hd_mpr2et_8, stdcell_id, [(0,0,11.96,2.72), (0,0,11.96,2.72)])
R(scs130hd_mpr2et_8, nsdm, [(0.165,0.11,11.385,1.01), (0.165,0.11,11.385,1.01)])
R(scs130hd_mpr2et_8, psdm, [(0.165,1.36,11.385,2.61), (0.165,1.36,11.385,2.61)])
R(scs130hd_mpr2et_8, npc, [(0.47,0.975,1.8,1.345), (0.47,0.975,1.8,1.345), (2.43,0.975,4.24,1.345), (2.43,0.975,4.24,1.345), (4.87,0.975,6.68,1.345), (4.87,0.975,6.68,1.345), (7.31,0.975,8.64,1.345), (7.31,0.975,8.64,1.345), (9.27,0.975,11.08,1.345), (9.27,0.975,11.08,1.345)])
R(scs130hd_mpr2et_8, pwell_pin, [(0.165,-0.085,0.335,0.085), (0.165,-0.085,0.335,0.085), (2.125,-0.085,2.295,0.085), (2.125,-0.085,2.295,0.085), (4.565,-0.085,4.735,0.085), (4.565,-0.085,4.735,0.085), (7.005,-0.085,7.175,0.085), (7.005,-0.085,7.175,0.085), (8.965,-0.085,9.135,0.085), (8.965,-0.085,9.135,0.085)])
R(scs130hd_mpr2et_8, boundary, [(0,0,11.96,2.72), (0,0,11.96,2.72)])
scs130hd_mpr2et_8.add(gdstk.Label('VPB', (0.25,2.72), layer=64, texttype=5))
scs130hd_mpr2et_8.add(gdstk.Label('VPB', (2.21,2.72), layer=64, texttype=5))
scs130hd_mpr2et_8.add(gdstk.Label('VPB', (4.65,2.72), layer=64, texttype=5))
scs130hd_mpr2et_8.add(gdstk.Label('VPB', (7.09,2.72), layer=64, texttype=5))
scs130hd_mpr2et_8.add(gdstk.Label('VPB', (9.05,2.72), layer=64, texttype=5))
scs130hd_mpr2et_8.add(gdstk.Label('VPB', (0.25,2.72), layer=64, texttype=5))
scs130hd_mpr2et_8.add(gdstk.Label('VPB', (2.21,2.72), layer=64, texttype=5))
scs130hd_mpr2et_8.add(gdstk.Label('VPB', (4.65,2.72), layer=64, texttype=5))
scs130hd_mpr2et_8.add(gdstk.Label('VPB', (7.09,2.72), layer=64, texttype=5))
scs130hd_mpr2et_8.add(gdstk.Label('VPB', (9.05,2.72), layer=64, texttype=5))
scs130hd_mpr2et_8.add(gdstk.Label('VNB', (0.25,0), layer=64, texttype=59))
scs130hd_mpr2et_8.add(gdstk.Label('VNB', (2.21,0), layer=64, texttype=59))
scs130hd_mpr2et_8.add(gdstk.Label('VNB', (4.65,0), layer=64, texttype=59))
scs130hd_mpr2et_8.add(gdstk.Label('VNB', (7.09,0), layer=64, texttype=59))
scs130hd_mpr2et_8.add(gdstk.Label('VNB', (9.05,0), layer=64, texttype=59))
scs130hd_mpr2et_8.add(gdstk.Label('VNB', (0.25,0), layer=64, texttype=59))
scs130hd_mpr2et_8.add(gdstk.Label('VNB', (2.21,0), layer=64, texttype=59))
scs130hd_mpr2et_8.add(gdstk.Label('VNB', (4.65,0), layer=64, texttype=59))
scs130hd_mpr2et_8.add(gdstk.Label('VNB', (7.09,0), layer=64, texttype=59))
scs130hd_mpr2et_8.add(gdstk.Label('VNB', (9.05,0), layer=64, texttype=59))
scs130hd_mpr2et_8.add(gdstk.Label('vpwr', (0.24,2.72), layer=68, texttype=5))
scs130hd_mpr2et_8.add(gdstk.Label('vgnd', (0.24,0), layer=68, texttype=5))
scs130hd_mpr2et_8.add(gdstk.Label('vpwr', (0.24,2.72), layer=68, texttype=5))
scs130hd_mpr2et_8.add(gdstk.Label('vgnd', (0.24,0), layer=68, texttype=5))
scs130hd_mpr2et_8.add(gdstk.Label('B0', (1.98,1.08), layer=70, texttype=5))
scs130hd_mpr2et_8.add(gdstk.Label('A0', (0.945,1.08), layer=70, texttype=5))
scs130hd_mpr2et_8.add(gdstk.Label('B1', (3.055,1.64), layer=70, texttype=5))
scs130hd_mpr2et_8.add(gdstk.Label('R1', (8.635,2.2), layer=70, texttype=5))
scs130hd_mpr2et_8.add(gdstk.Label('R2', (6.935,2.2), layer=70, texttype=5))
scs130hd_mpr2et_8.add(gdstk.Label('R0', (0.615,2.2), layer=70, texttype=5))
scs130hd_mpr2et_8.add(gdstk.Label('R3', (10.855,0.52), layer=70, texttype=5))
scs130hd_mpr2et_8.add(gdstk.Label('A1', (4.495,1.08), layer=70, texttype=5))
scs130hd_mpr2et_8.add(gdstk.Label('B0', (1.98,1.08), layer=70, texttype=5))
scs130hd_mpr2et_8.add(gdstk.Label('A0', (0.945,1.08), layer=70, texttype=5))
scs130hd_mpr2et_8.add(gdstk.Label('B1', (3.055,1.64), layer=70, texttype=5))
scs130hd_mpr2et_8.add(gdstk.Label('R1', (8.635,2.2), layer=70, texttype=5))
scs130hd_mpr2et_8.add(gdstk.Label('R2', (6.935,2.2), layer=70, texttype=5))
scs130hd_mpr2et_8.add(gdstk.Label('R0', (0.615,2.2), layer=70, texttype=5))
scs130hd_mpr2et_8.add(gdstk.Label('R3', (10.855,0.52), layer=70, texttype=5))
scs130hd_mpr2et_8.add(gdstk.Label('A1', (4.495,1.08), layer=70, texttype=5))

lib.write_gds('scs130hd_mpr2et_8.gds')
